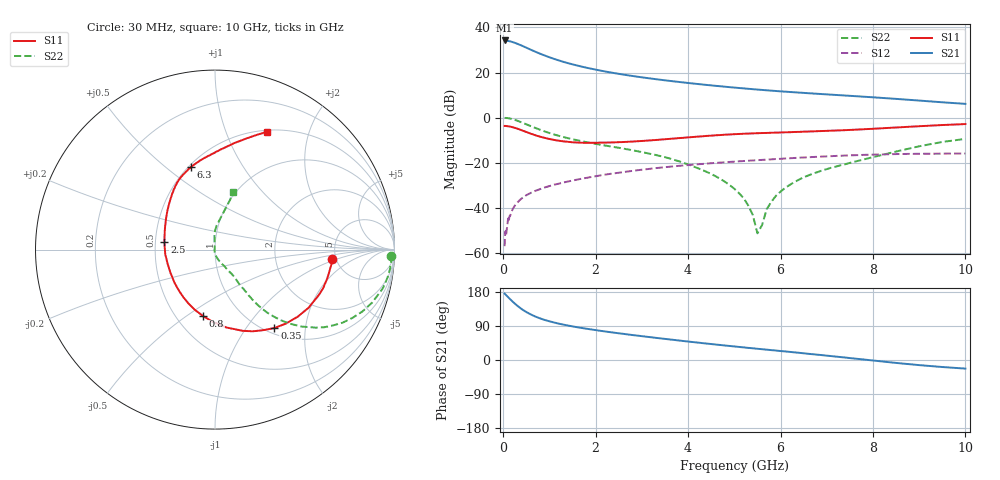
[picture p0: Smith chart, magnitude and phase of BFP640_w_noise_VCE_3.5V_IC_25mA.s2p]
! (c) 2013  Infineon Technologies AG, Munich
! Infineon Technologies  Discrete & RF Semiconductors
! BFP640
! VCE =  3.5 V,  IC =  25 mA
! Common Emitter S-Parameters:  Apr 2013
# GHz  S  MA  R  50
!  f  S11  S21  S12  S22
! GHz  MAG  ANG  MAG  ANG  MAG  ANG  MAG  ANG
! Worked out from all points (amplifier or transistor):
!   99 points, 30 MHz to 10 GHz, reference 50 ohm
!   highest |S21| = 34.2 dB at 30 MHz (marker M1)
!   |S21| within 3 dB of that: start of sweep to 477.4 MHz
!   unconditionally stable (mu >= 1): 2.457 GHz to end of sweep
!   at 350 MHz: K = 0.33, MSG = 34.6 dB, |S12| = -36.8 dB
!   at 3.5 GHz: K = 1.04, MAG = 18.0 dB, |S12| = -22.0 dB
!   at 10 GHz: K = 1.07, MAG = 9.4 dB, |S12| = -15.9 dB
!   lowest NFmin = 0.95 dB at 450 MHz
!   S11 on the Smith chart (normalised r, x): 30 MHz: 4.62, -0.81; 350 MHz: 1.09, -1.37; 800 MHz: 0.67, -0.58; 2.5 GHz: 0.56, +0.05; 6.3 GHz: 0.51, +0.61; 10 GHz: 0.52, +1.41
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0.03  0.6533 -4.4  51.56 175.1  0.0014 68.6  0.9814 -2.0
0.11  0.6409 -17.7  50.23 165.3  0.0058 81.1  0.9693 -10.4
0.2  0.6138 -31.9  47.59 154.5  0.0091 77.0  0.9242 -18.6
0.25  0.5933 -39.1  45.71 148.9  0.0111 73.9  0.8913 -22.7
0.3  0.5705 -46.3  43.73 143.7  0.0128 72.7  0.8554 -26.4
0.35  0.5481 -52.9  41.6 138.9  0.0145 70.0  0.8192 -29.8
0.4  0.5217 -59.5  39.67 134.3  0.0161 68.4  0.7805 -32.8
0.45  0.5016 -65.2  37.56 130.3  0.0174 67.3  0.7466 -35.4
0.6  0.4388 -81.6  32.01 120.0  0.0214 63.3  0.6444 -41.7
0.7  0.4046 -91.3  28.87 114.4  0.0238 62.3  0.5871 -44.7
0.8  0.3765 -100.2  26.15 109.7  0.0259 61.1  0.5364 -47.1
1  0.3352 -116.0  21.82 102.1  0.0302 59.6  0.4548 -50.4
1.2  0.3068 -129.8  18.62 96.0  0.0341 58.3  0.3945 -52.2
1.7  0.2766 -157.5  13.53 84.5  0.0441 56.0  0.2989 -53.6
2.5  0.2846 171.6  9.361 70.5  0.0597 51.3  0.2138 -54.8
3.4  0.3246 147.0  6.922 57.1  0.0774 44.6  0.1399 -57.7
5.1  0.433 118.3  4.543 34.5  0.107 30.4  0.0211 -90.1
5.5  0.4503 113.9  4.191 29.6  0.1135 27.2  0.0027 -157.5
6.3  0.4794 106.3  3.648 20.2  0.1269 20.4  0.037 93.2
6.7  0.4949 101.8  3.429 15.2  0.1335 16.7  0.057 92.5
8.5  0.6033 79.7  2.603 -7.7  0.155 -1.1  0.1764 80.3
10  0.7184 66.1  2.019 -22.7  0.1597 -12.9  0.3367 72.4
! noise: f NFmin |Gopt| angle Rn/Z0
0.45  0.95  0.16  -171  0.01
0.9  0.96  0.18  -158  0.02
1.5  0.98  0.19  -144  0.04
1.9  1  0.21  -136  0.05
2.4  1.03  0.24  -121  0.06
3.5  1.15  0.26  -104  0.1
5.5  1.35  0.29  -94  0.17
10  1.83  0.59  -53  0.52
